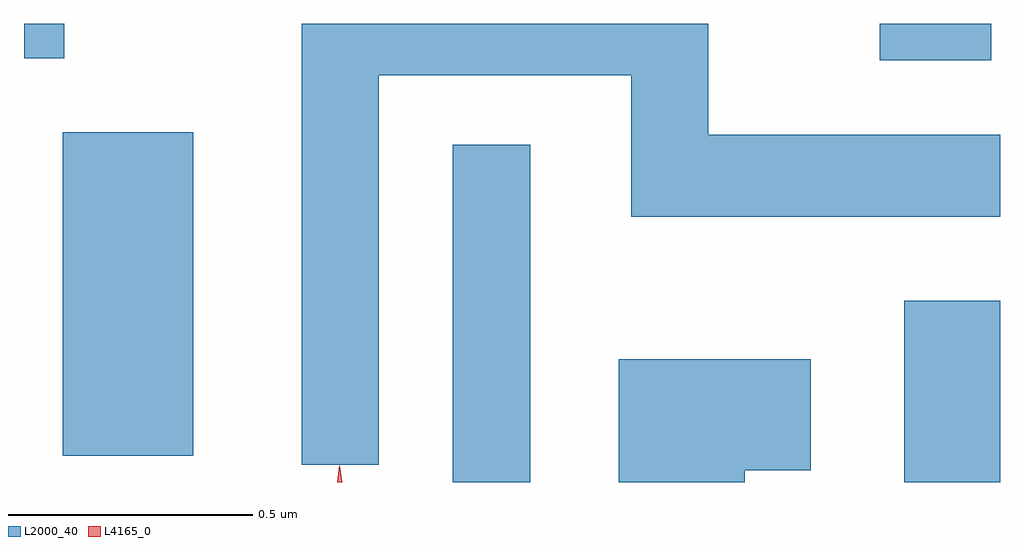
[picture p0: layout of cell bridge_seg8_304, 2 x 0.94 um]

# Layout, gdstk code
import gdstk
lib = gdstk.Library(unit=1e-6, precision=1e-09)
def R(c, l, rs):  # rectangles x0, y0, x1, y1
    for r in rs: c.add(gdstk.rectangle(r[:2], r[2:], *l))
def P(c, l, *ps):  # polygons
    for p in ps: c.add(gdstk.Polygon(p, *l))
L2000_40 = (2000, 40)
L4165_0 = (4165, 0)

bridge_seg8_304 = lib.new_cell('bridge_seg8_304')
R(bridge_seg8_304, L2000_40, [(1395.256,1806.342,1395.414,1807.033), (1396.181,1806.342,1396.377,1806.714), (1394.456,1806.396,1394.724,1807.059), (1396.131,1807.206,1396.359,1807.281), (1394.377,1807.211,1394.459,1807.281)])
P(bridge_seg8_304, L2000_40, [(1395.104,1807.176),(1395.621,1807.176),(1395.621,1806.886),(1396.377,1806.886),(1396.377,1807.054),(1395.779,1807.054),(1395.779,1807.281),(1394.946,1807.281),(1394.946,1806.378),(1395.104,1806.378)],
  [(1395.854,1806.366),(1395.989,1806.366),(1395.989,1806.594),(1395.596,1806.594),(1395.596,1806.342),(1395.854,1806.342)])
P(bridge_seg8_304, L4165_0, [(1395.019,1806.342),(1395.023,1806.376),(1395.024,1806.376),(1395.029,1806.342)])

lib.write_gds('bridge_seg8_304.gds')
